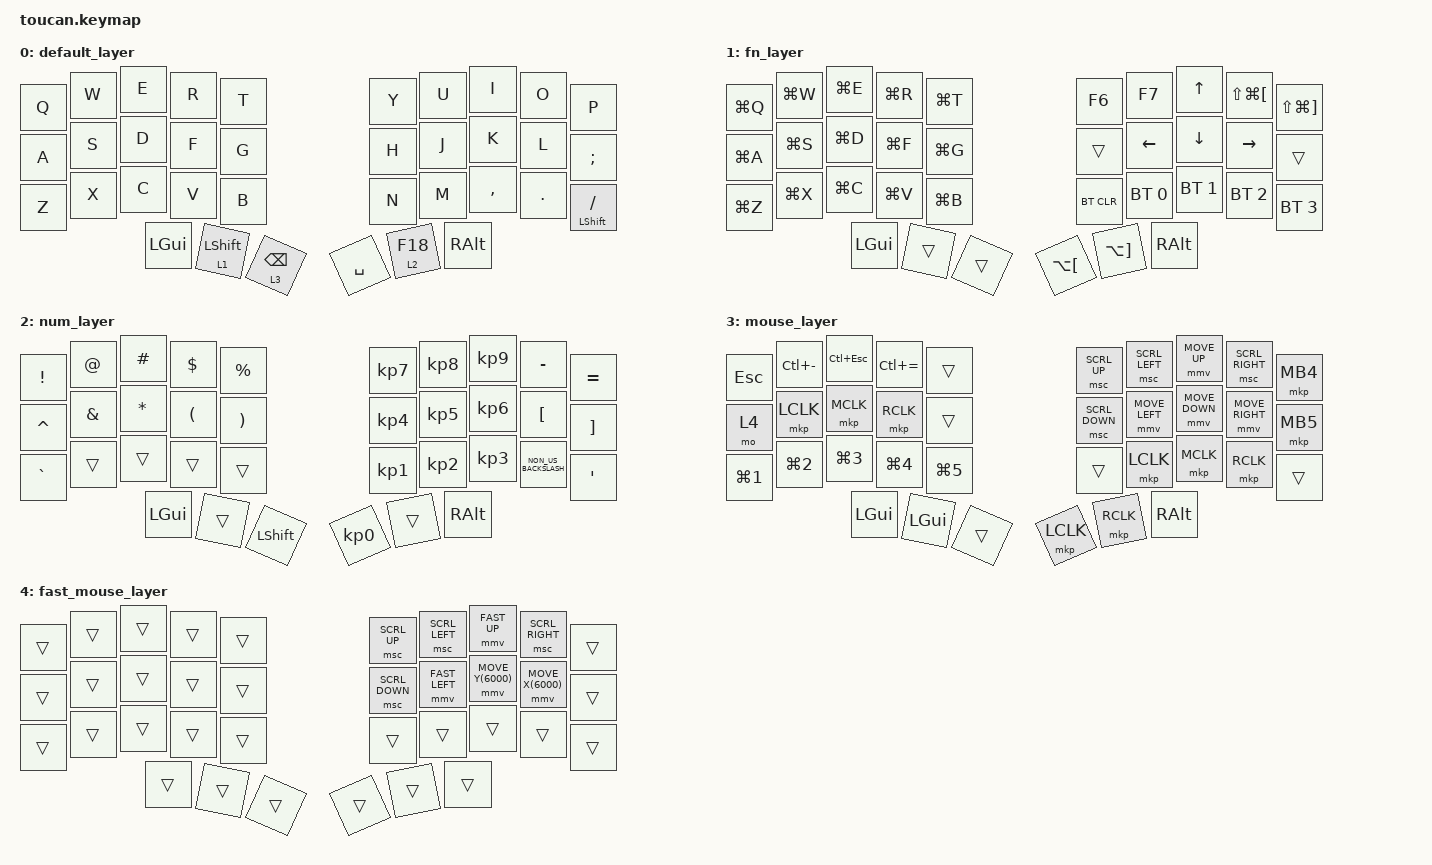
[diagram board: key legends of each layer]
// Mouse tuning values must be defined before the ZMK headers.
#define ZMK_POINTING_DEFAULT_MOVE_VAL 3500
#define ZMK_POINTING_DEFAULT_SCRL_VAL 15
#define FAST_UP    MOVE_Y(-6000)
#define FAST_DOWN  MOVE_Y(6000)
#define FAST_LEFT  MOVE_X(-6000)
#define FAST_RIGHT MOVE_X(6000)

#include <behaviors.dtsi>
#include <dt-bindings/zmk/bt.h>
#include <dt-bindings/zmk/keys.h>
#include <dt-bindings/zmk/pointing.h>

&mmv {
    trigger-period-ms = <5>;
    acceleration-exponent = <1>;
    time-to-max-speed-ms = <400>;
    delay-ms = <0>;
};

&msc {
    trigger-period-ms = <8>;
    acceleration-exponent = <0>;
    time-to-max-speed-ms = <120>;
    delay-ms = <0>;
};

&mt {
    flavor = "balanced";
    tapping-term-ms = <180>;
    quick-tap-ms = <150>;
    require-prior-idle-ms = <125>;
};

/ {
    behaviors {
        lt_sk: layer_tap_sticky {
            compatible = "zmk,behavior-hold-tap";
            #binding-cells = <2>;
            tapping-term-ms = <200>;
            quick-tap-ms = <175>;
            flavor = "balanced";
            bindings = <&mo>, <&sk>;
        };

        lt_bspc: layer_tap_backspace {
            compatible = "zmk,behavior-hold-tap";
            #binding-cells = <2>;
            tapping-term-ms = <200>;
            quick-tap-ms = <200>;
            flavor = "tap-preferred";
            bindings = <&mo>, <&kp>;
        };
    };

    macros {
        mc_vim_save: mc_vim_save {
            compatible = "zmk,behavior-macro";
            #binding-cells = <0>;
            wait-ms = <10>;
            tap-ms = <10>;
            bindings = <&kp COLON &kp W &kp ENTER>;
        };

        mc_vim_qa: mc_vim_qa {
            compatible = "zmk,behavior-macro";
            #binding-cells = <0>;
            wait-ms = <10>;
            tap-ms = <10>;
            bindings = <&kp COLON &kp Q &kp A &kp ENTER>;
        };
    };

    /*
     * 36-key layout: 3x5 per half plus 3 thumbs per half.
     * Main key positions match the source cradio layout.
     */
    combos {
        compatible = "zmk,combos";

        combo_tab {
            timeout-ms = <50>;
            key-positions = <0 1>;
            bindings = <&kp TAB>;
        };

        combo_shift_tab {
            timeout-ms = <60>;
            key-positions = <1 2>;
            bindings = <&kp LS(TAB)>;
        };

        combo_enter {
            timeout-ms = <40>;
            key-positions = <16 18>;
            bindings = <&kp ENTER>;
        };

        AS_LCTRL {
            timeout-ms = <30>;
            layers = <0>;
            bindings = <&kp LCTRL>;
            key-positions = <10 11>;
        };

        SD_LGUI {
            timeout-ms = <30>;
            layers = <0>;
            bindings = <&kp LGUI>;
            key-positions = <11 12>;
        };

        DF_LSHFT {
            timeout-ms = <30>;
            layers = <0>;
            bindings = <&kp LSHFT>;
            key-positions = <12 13>;
        };

        FG_LALT {
            timeout-ms = <30>;
            layers = <0>;
            bindings = <&kp LALT>;
            key-positions = <13 14>;
        };

        JK_RCTRL {
            timeout-ms = <30>;
            layers = <0>;
            bindings = <&kp LCTRL>;
            key-positions = <16 17>;
        };

        KL_RGUI {
            timeout-ms = <30>;
            layers = <0>;
            bindings = <&kp LGUI>;
            key-positions = <17 18>;
        };

        LL_RSHFT {
            timeout-ms = <30>;
            layers = <0>;
            bindings = <&kp LSHFT>;
            key-positions = <18 19>;
        };

        combo_enter_nm {
            timeout-ms = <40>;
            layers = <0>;
            key-positions = <25 26>;
            bindings = <&kp ENTER>;
        };

        combo_vim_save {
            timeout-ms = <40>;
            layers = <0>;
            key-positions = <24 25>;
            bindings = <&mc_vim_save>;
        };

        combo_vim_qa {
            timeout-ms = <40>;
            layers = <0>;
            key-positions = <23 26>;
            bindings = <&mc_vim_qa>;
        };

        combo_screenshot {
            timeout-ms = <60>;
            layers = <0>;
            key-positions = <1 2 3>;
            bindings = <&kp LG(LC(LS(N4)))>;
        };

        combo_esc_wr {
            timeout-ms = <50>;
            layers = <0>;
            key-positions = <1 3>;
            bindings = <&kp ESC>;
        };

        combo_esc_rt {
            timeout-ms = <50>;
            layers = <0>;
            key-positions = <3 4>;
            bindings = <&kp ESC>;
        };

        combo_esc_yu {
            timeout-ms = <50>;
            layers = <0>;
            key-positions = <5 6>;
            bindings = <&kp ESC>;
        };

        combo_enter_vb {
            timeout-ms = <40>;
            layers = <0>;
            key-positions = <23 24>;
            bindings = <&kp ENTER>;
        };

        combo_caps_lock {
            timeout-ms = <60>;
            layers = <0>;
            key-positions = <20 21 22>;
            bindings = <&kp CAPSLOCK>;
        };

        combo_hold_cmd_shift {
            timeout-ms = <60>;
            layers = <0>;
            key-positions = <16 17 18>;
            bindings = <&kp LS(LGUI)>;
        };

        chrome_developer_tool {
            bindings = <&kp LG(LA(I))>;
            key-positions = <27 28 29>;
        };
    };

    keymap {
        compatible = "zmk,keymap";

        default_layer {
            bindings = <
&kp Q  &kp W  &kp E  &kp R           &kp T                   &kp Y      &kp U      &kp I      &kp O    &kp P
&kp A  &kp S  &kp D  &kp F           &kp G                   &kp H      &kp J      &kp K      &kp L    &kp SEMI
&kp Z  &kp X  &kp C  &kp V           &kp B                   &kp N      &kp M      &kp COMMA  &kp DOT  &mt LSHFT FSLH
              &kp LGUI  &lt_sk 1 LSHFT  &lt_bspc 3 BACKSPACE    &kp SPACE  &lt 2 F18  &kp RALT
            >;
        };

        fn_layer {
            bindings = <
&kp LG(Q)  &kp LG(W)  &kp LG(E)  &kp LG(R)  &kp LG(T)    &kp F6      &kp F7        &kp UP_ARROW  &kp LS(LG(LBKT))  &kp LS(LG(RBKT))
&kp LG(A)  &kp LG(S)  &kp LG(D)  &kp LG(F)  &kp LG(G)    &trans      &kp LEFT      &kp DOWN      &kp RIGHT         &trans
&kp LG(Z)  &kp LG(X)  &kp LG(C)  &kp LG(V)  &kp LG(B)    &bt BT_CLR  &bt BT_SEL 0  &bt BT_SEL 1  &bt BT_SEL 2      &bt BT_SEL 3
                      &kp LGUI   &trans     &trans       &kp LA(LBKT)  &kp LA(RBKT)  &kp RALT
            >;
        };

        num_layer {
            bindings = <
&kp EXCL   &kp AT         &kp HASH      &kp DLLR              &kp PRCNT                &kp KP_NUMBER_7  &kp KP_NUMBER_8  &kp KP_NUMBER_9  &kp MINUS             &kp EQUAL
&kp CARET  &kp AMPERSAND  &kp ASTERISK  &kp LEFT_PARENTHESIS  &kp RIGHT_PARENTHESIS    &kp KP_NUMBER_4  &kp KP_NUMBER_5  &kp KP_NUMBER_6  &kp LEFT_BRACKET      &kp RIGHT_BRACKET
&kp GRAVE  &trans         &trans        &trans                &trans                   &kp KP_NUMBER_1  &kp KP_NUMBER_2  &kp KP_NUMBER_3  &kp NON_US_BACKSLASH  &kp SINGLE_QUOTE
                         &kp LGUI      &trans                &kp LEFT_SHIFT           &kp KP_NUMBER_0  &trans              &kp RALT
            >;
        };

        mouse_layer {
            bindings = <
&kp ESC     &kp LC(MINUS)  &kp LC(ESCAPE)  &kp LC(EQUAL)  &trans       &msc SCRL_UP    &msc SCRL_LEFT  &mmv MOVE_UP    &msc SCRL_RIGHT  &mkp MB4
&mo 4       &mkp LCLK      &mkp MCLK       &mkp RCLK      &trans       &msc SCRL_DOWN  &mmv MOVE_LEFT  &mmv MOVE_DOWN  &mmv MOVE_RIGHT  &mkp MB5
&kp LG(N1)  &kp LG(N2)     &kp LG(N3)      &kp LG(N4)     &kp LG(N5)   &trans          &mkp LCLK       &mkp MCLK       &mkp RCLK        &trans
                          &kp LGUI        &kp LGUI       &trans       &mkp LCLK       &mkp RCLK       &kp RALT
            >;
        };

        fast_mouse_layer {
            bindings = <
&trans  &trans  &trans  &trans  &trans    &msc SCRL_UP    &msc SCRL_LEFT  &mmv FAST_UP    &msc SCRL_RIGHT  &trans
&trans  &trans  &trans  &trans  &trans    &msc SCRL_DOWN  &mmv FAST_LEFT  &mmv FAST_DOWN  &mmv FAST_RIGHT  &trans
&trans  &trans  &trans  &trans  &trans    &trans          &trans          &trans          &trans           &trans
                &trans  &trans  &trans    &trans          &trans          &trans
            >;
        };
    };
};
